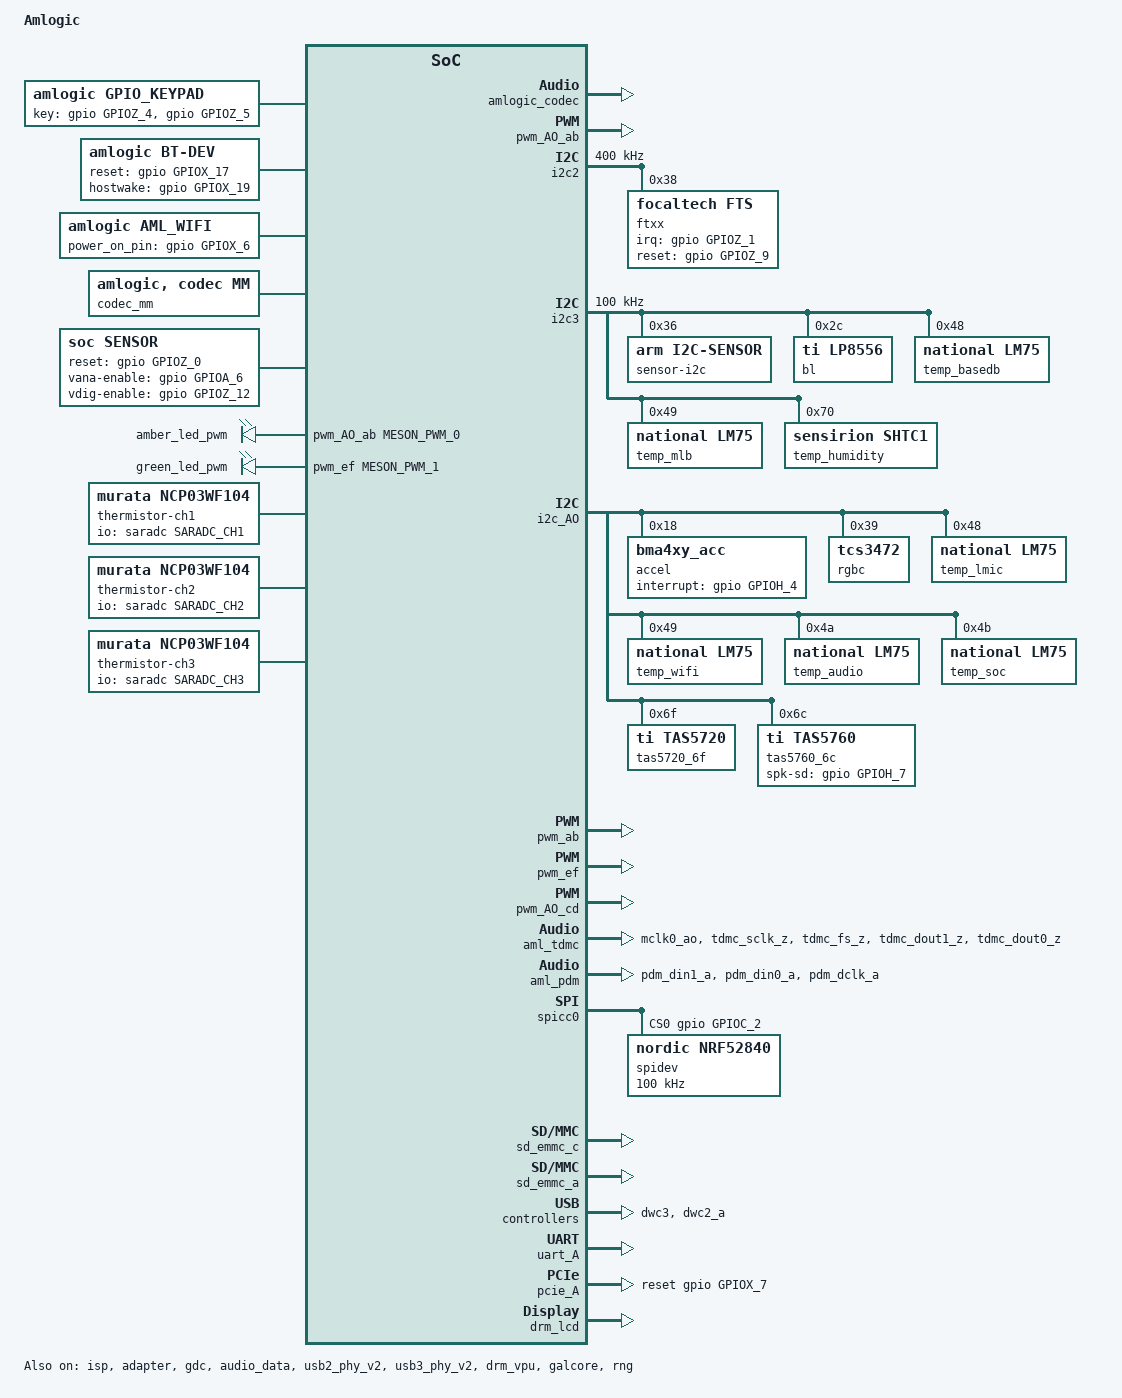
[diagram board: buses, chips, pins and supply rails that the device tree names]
/*
 * arch/arm64/boot/dts/amlogic/newman-common.dtsi
 *
 * Copyright (C) 2017 Amlogic, Inc. All rights reserved.
 *
 * This program is free software; you can redistribute it and/or modify
 * it under the terms of the GNU General Public License as published by
 * the Free Software Foundation; either version 2 of the License, or
 * (at your option) any later version.
 *
 * This program is distributed in the hope that it will be useful, but WITHOUT
 * ANY WARRANTY; without even the implied warranty of MERCHANTABILITY or
 * FITNESS FOR A PARTICULAR PURPOSE.  See the GNU General Public License for
 * more details.
 *
 */

/ {
	model = "Amlogic";
	compatible = "amlogic, g12b";
	interrupt-parent = <&gic>;
	#address-cells = <2>;
	#size-cells = <2>;

	aliases {
		serial0 = &uart_AO;
		serial1 = &uart_A;
		serial2 = &uart_B;
		serial3 = &uart_C;
		serial4 = &uart_AO_B;
		i2c0 = &i2c0;
		i2c1 = &i2c1;
		i2c2 = &i2c2;
		i2c3 = &i2c3;
		i2c4 = &i2c_AO;
		tsensor0 = &p_tsensor;
		tsensor1 = &d_tsensor;
	};

	memory@00000000 {
		device_type = "memory";
		linux,usable-memory = <0x0 0x100000 0x0 0x7ff00000>;
	};

	reserved-memory {
		#address-cells = <2>;
		#size-cells = <2>;
		ranges;
		/* global autoconfigured region for contiguous allocations */
		ramoops@0x20000000 {
			compatible = "ramoops";
			reg = <0x0 0x20000000 0x0 0x00100000>;
			record-size = <0x8000>;
			console-size = <0x8000>;
			ftrace-size = <0x0>;
			pmsg-size = <0x8000>;
		};
		secmon_reserved:linux,secmon {
			compatible = "shared-dma-pool";
			reusable;
			size = <0x0 0x2400000>;
			alignment = <0x0 0x400000>;
			alloc-ranges = <0x0 0x05000000 0x0 0x2400000>;
			clear-map;
		};

		secos_reserved:linux,secos {
			status = "disable";
			compatible = "amlogic, aml_secos_memory";
			reg = <0x0 0x05300000 0x0 0x2000000>;
			no-map;
		};
		logo_reserved:linux,meson-fb {
			compatible = "shared-dma-pool";
			reusable;
			size = <0x0 0x800000>;
			alignment = <0x0 0x400000>;
			alloc-ranges = <0x0 0x76800000 0x0 0x800000>;
		};
		ion_cma_reserved:linux,ion-dev {
			compatible = "shared-dma-pool";
			reusable;
			size = <0x0 0x8000000>;
			alignment = <0x0 0x400000>;
		};

		//di_reserved:linux,di {
			//compatible = "amlogic, di-mem";
			/* buffer_size = 3621952(yuv422 8bit) */
			/* 4179008(yuv422 10bit full pack mode) */
			/** 10x3621952=34.6M(0x23) support 8bit **/
			/** 10x4736064=45.2M(0x2e) support 12bit **/
			/** 10x4179008=40M(0x28) support 10bit **/
			//size = <0x0 0x2800000>;
			//no-map;
		//};
		/*di CMA pool */
		//di_cma_reserved:linux,di_cma {
		//	compatible = "shared-dma-pool";
		//	reusable;
			/* buffer_size = 3621952(yuv422 8bit)
			 *  | 4736064(yuv422 10bit)
			 *  | 4074560(yuv422 10bit full pack mode)
			 * 10x3621952=34.6M(0x23) support 8bit
			 * 10x4736064=45.2M(0x2e) support 12bit
			 * 10x4074560=40M(0x28) support 10bit
			 */
		//	size = <0x0 0x02800000>;
		//	alignment = <0x0 0x400000>;
		//};
		/*  POST PROCESS MANAGER */
		ppmgr_reserved:linux,ppmgr {
			compatible = "shared-dma-pool";
			size = <0x0 0x0>;
		};

		codec_mm_cma:linux,codec_mm_cma {
			compatible = "shared-dma-pool";
			reusable;
			size = <0x0 0x10800000>;
			alignment = <0x0 0x400000>;
			linux,contiguous-region;
			clear-map;
		};
		/* codec shared reserved */
		codec_mm_reserved:linux,codec_mm_reserved {
			compatible = "amlogic, codec-mm-reserved";
			size = <0x0 0x0>;
			alignment = <0x0 0x100000>;
			//no-map;
		};
		/* YUV decoder V4L2 CMA */
		codec_yuvdecoder_cma:linux,yuvdecoder_cma {
			compatible = "shared-dma-pool";
			size = <0x0 0xc00000>;
			linux,contiguous-region;
		};
		/*  vdin0 CMA pool */
		//vdin0_cma_reserved:linux,vdin0_cma {
		//	compatible = "shared-dma-pool";
		//	reusable;
		/* 1920x1080x2x4  =16+4 M */
		//	size = <0x0 0x04000000>;
		//	alignment = <0x0 0x400000>;
		//};
		/*  vdin1 CMA pool */
		//vdin1_cma_reserved:linux,vdin1_cma {
		//	compatible = "shared-dma-pool";
		//	reusable;
			/* 1920x1080x2x4  =16 M */
		//	size = <0x0 0x04000000>;
		//	alignment = <0x0 0x400000>;
		//};
		isp_cma_reserved:linux,isp_cma{
			compatible = "shared-dma-pool";
			reusable;
			status = "okay";
			size = <0x0 0x8C00000>;
			alignment = <0x0 0x40000>;
			//no-map;
		};
		adapt_cma_reserved:linux,adapt_cma {
			compatible = "shared-dma-pool";
			reusable;
			status = "okay";
			size = <0x0 0x01000000>;
			alignment = <0x0 0x400000>;
		};
		gdc_cma_reserved:linux,gdc_cma {
			compatible = "shared-dma-pool";
			reusable;
			status = "okay";
			size = <0x0 0x04000000>;
			alignment = <0x0 0x400000>;
		};
	};

	galcore {
		compatible = "amlogic, galcore";
		dev_name = "galcore";
		status = "okay";
		interrupts = <0 147 IRQ_TYPE_LEVEL_HIGH>;
		interrupt-names = "galcore";
		reg = <0x0 0xff100000 0x0 0x800>;
	};

	gpio_key {
		compatible = "amlogic, gpio_keypad";
		status = "okay";
		scan_period = <20>;
		key_num = <2>;
		key_name = "vol_up", "vol_down";
		key_code = <115 114>;
		key-gpios = <&gpio  GPIOZ_4  GPIO_ACTIVE_HIGH
				&gpio  GPIOZ_5  GPIO_ACTIVE_HIGH>;
		detect_mode = <0>;/*0:polling mode, 1:irq mode*/
	};

	cvbsout {
		compatible = "amlogic, cvbsout-g12a";
		dev_name = "cvbsout";
		status = "disabled";
		clocks = <&clkc CLKID_VCLK2_ENCI
			&clkc CLKID_VCLK2_VENCI0
			&clkc CLKID_VCLK2_VENCI1
			&clkc CLKID_DAC_CLK>;
		clock-names = "venci_top_gate",
			"venci_0_gate",
			"venci_1_gate",
			"vdac_clk_gate";

		/* performance: reg_address, reg_value */
		/* s905x */
		performance = <0x1bf0  0x9
			0x1b56  0x343
			0x1b12  0x8080
			0x1b05  0xfd
			0x1c59  0xf752
			0xffff  0x0>; /* ending flag */
	};

	bt-dev{
		compatible = "amlogic, bt-dev";
		dev_name = "bt-dev";
		status = "okay";
		gpio_reset = <&gpio GPIOX_17 GPIO_ACTIVE_HIGH>;
		gpio_hostwake = <&gpio GPIOX_19 GPIO_ACTIVE_HIGH>;
	};

	wifi{
		compatible = "amlogic, aml_wifi";
		dev_name = "aml_wifi";
		status = "okay";
		interrupt_pin = <&gpio GPIOX_7 GPIO_ACTIVE_HIGH>;
		irq_trigger_type = "GPIO_IRQ_LOW";
		power_on_pin = <&gpio GPIOX_6 GPIO_ACTIVE_HIGH>;
		dhd_static_buf;	//if use bcm wifi, config dhd_static_buf
		pinctrl-names = "default";
		pinctrl-0 = <&pwm_e_pins>;
		pwm_config = <&wifi_pwm_conf>;
	};

	wifi_pwm_conf:wifi_pwm_conf{
		pwm_channel1_conf {
			pwms = <&pwm_ef MESON_PWM_0 30040 0>;
			duty-cycle = <15020>;
			times = <10>;
		};
		pwm_channel2_conf {
			pwms = <&pwm_ef MESON_PWM_2 30030 0>;
			duty-cycle = <15015>;
			times = <12>;
		};
	};

	codec_mm {
		compatible = "amlogic, codec, mm";
		memory-region = <&codec_mm_cma &codec_mm_reserved>;
		dev_name = "codec_mm";
		status = "okay";
	};

	amvenc_avc {
		compatible = "amlogic, amvenc_avc";
		dev_name = "amvenc_avc";
		status = "okay";
		interrupts = <0 45 1>;
		interrupt-names = "mailbox_2";
	};

	ppmgr {
		compatible = "amlogic, ppmgr";
		memory-region = <&ppmgr_reserved>;
		dev_name = "ppmgr";
		status = "okay";
	};

	//deinterlace {
	//	compatible = "amlogic, deinterlace";
	//	status = "disabled";
		/* 0:use reserved; 1:use cma; 2:use cma as reserved */
	//	flag_cma = <1>;
		//memory-region = <&di_reserved>;
	//	memory-region = <&di_cma_reserved>;
	//	interrupts = <0 46 1
	//			0 40 1>;
	//	interrupt-names = "pre_irq", "post_irq";
	//	clocks = <&clkc CLKID_VPU_CLKB_TMP_COMP>,
	//		<&clkc CLKID_VPU_CLKB_COMP>;
	//	clock-names = "vpu_clkb_tmp_composite",
	//		"vpu_clkb_composite";
	//	clock-range = <334 667>;
		/* buffer-size = <3621952>;(yuv422 8bit) */
	//	buffer-size = <4074560>;/*yuv422 fullpack*/
		/* reserve-iomap = "true"; */
		/* if enable nr10bit, set nr10bit-support to 1 */
	//	post-wr-support = <1>;
	//	nr10bit-support = <1>;
	//	nrds-enable = <1>;
	//	pps-enable = <1>;
	//};

	ionvideo {
		compatible = "amlogic, ionvideo";
		dev_name = "ionvideo";
		status = "okay";
	};

	rng {
		compatible = "amlogic,meson-rng";
		status = "okay";
		#address-cells = <2>;
		#size-cells = <2>;
		reg = <0x0 0xff630218 0x0 0x4>;
	};

	amlvecm {
		compatible = "amlogic, vecm";
		dev_name = "aml_vecm";
		status = "okay";
		gamma_en = <1>;/*1:enabel ;0:disable*/
		wb_en = <0>;/*1:enabel ;0:disable*/
		cm_en = <0>;/*1:enabel ;0:disable*/
		vlock_en = <0>;
		vlock_mode = <0x4>;
		vlock_pll_m_limit = <1>;
		vlock_line_limit = <3>;
	};

	amvdec_yuv {
		compatible = "amlogic, amvdec_yuv";
		memory-region = <&codec_yuvdecoder_cma>;
		status = "okay";
	};

	amdolby_vision {
		compatible = "amlogic, dolby_vision_g12a";
		dev_name = "aml_amdolby_vision_driver";
		status = "disabled";
		tv_mode = <0>;/*1:enabel ;0:disable*/
	};

	/* Audio Related start */
	pdm_codec:dummy{
		#sound-dai-cells = <0>;
		compatible = "amlogic, pdm_dummy_codec";
		status = "okay";
	};
	dummy_codec:dummy{
		#sound-dai-cells = <0>;
		compatible = "amlogic, aml_dummy_codec";
		status = "okay";
	};
	amlogic_codec:t9015{
		#sound-dai-cells = <0>;
		compatible = "amlogic, aml_codec_T9015";
		reg = <0x0 0xFF632000 0x0 0x2000>;
		is_auge_used = <1>; /* meson or auge chipset used */
		tdmout_index = <1>;
		status = "okay";
	};
	audio_effect:eqdrc{
		/*eq_enable = <1>;*/
		/*drc_enable = <1>;*/
		/*
		 * 0:tdmout_a
		 * 1:tdmout_b
		 * 2:tdmout_c
		 * 3:spdifout
		 * 4:spdifout_b
		 */
		eqdrc_module = <1>;
		/* max 0xf, each bit for one lane, usually one lane */
		lane_mask = <0x1>;
		/* max 0xff, each bit for one channel */
		channel_mask = <0x3>;
	};
	auge_sound {
		compatible = "amlogic, g12a-sound-card";
		aml-audio-card,name = "AML-AUGESOUND";

		//aml-audio-card,loopback = <&aml_loopback>;
		//aml-audio-card,aux-devs = <&amlogic_codec>;
		/*avout mute gpio*/
		//avout_mute-gpios = <&gpio_ao GPIOAO_2 GPIO_ACTIVE_HIGH>;
		/*for audio effect ,eqdrc */
		aml-audio-card,effect = <&audio_effect>;

		aml-audio-card,dai-link@0 {
			format = "dsp_a";
			mclk-fs = <256>;
			//continuous-clock;
			//bitclock-inversion;
			//frame-inversion;
			//bitclock-master = <&tdmacodec>;
			//frame-master = <&tdmacodec>;
			/* suffix-name, sync with android audio hal
			 * what's the dai link used for
			 */
			suffix-name = "alsaPORT-pcm";
			tdmacpu: cpu {
				sound-dai = <&aml_tdma>;
				dai-tdm-slot-tx-mask = <1>;
				dai-tdm-slot-rx-mask = <1>;
				dai-tdm-slot-num = <1>;
				dai-tdm-slot-width = <16>;
				system-clock-frequency = <24576000>;
			};
			tdmacodec: codec {
				sound-dai = <&dummy_codec>;
			};
		};

		aml-audio-card,dai-link@2 {
			format = "i2s";
			mclk-fs = <256>;
			//continuous-clock;
			//bitclock-inversion;
			//frame-inversion;
			bitclock-master = <&aml_tdmc>;
			frame-master = <&aml_tdmc>;
			/* suffix-name, sync with android audio hal
			 * what's the dai link used for
			 */
			suffix-name = "alsaPORT-tdm";
			cpu {
				sound-dai = <&aml_tdmc>;
				dai-tdm-slot-tx-mask = <1 1>;
				dai-tdm-slot-rx-mask = <1 1>;
				dai-tdm-slot-num = <2>;
				dai-tdm-slot-width = <32>;
				system-clock-frequency = <12288000>;
			};
			tdmccodec: codec {
				prefix-names = "5720", "5760";
				dai-tdm-slot-tx-mask = <1 1>;
				dai-tdm-slot-rx-mask = <1 1>;
				dai-tdm-slot-num = <2>;
				dai-tdm-slot-width = <32>;
				sound-dai = <&tas5720_6f  &tas5760_6c>;
			};
		};

		aml-audio-card,dai-link@3 {
			mclk-fs = <64>;
			/* suffix-name, sync with android audio hal
			 * what's the dai link used for
			 */
			suffix-name = "alsaPORT-pdm";
			cpu {
				sound-dai = <&aml_pdm>;
			};
			codec {
				sound-dai = <&pdm_codec>;
			};
		};

		//aml-audio-card,dai-link@4 {
		//	mclk-fs = <128>;
		//	/* suffix-name, sync with android audio hal
		//	 * what's the dai link used for
		//	 */
		//	suffix-name = "alsaPORT-spdif";
		//	cpu {
		//		sound-dai = <&aml_spdif>;
		//		system-clock-frequency = <6144000>;
		//	};
		//	codec {
		//		sound-dai = <&dummy_codec>;
		//	};
		//};
		//aml-audio-card,dai-link@5 {
		//	mclk-fs = <128>;
		//	/* suffix-name, sync with android audio hal
		//	 * what's the dai link used for
		//	 */
		//	suffix-name = "alsaPORT-hdmi";
		//	cpu {
		//		sound-dai = <&aml_spdif_b>;
		//		system-clock-frequency = <6144000>;
		//	};
		//	codec {
		//		sound-dai = <&dummy_codec>;
		//	};
		//};
		/*
		 * dai link for i2s to hdmix,
		 * Notice to select a tdm lane not used by hw
		 */
		//aml-audio-card,dai-link@6 {
		//	format = "i2s";
		//	mclk-fs = <256>;
			//continuous-clock;
			//bitclock-inversion;
			//frame-inversion;
		//	bitclock-master = <&aml_i2s2hdmi>;
		//	frame-master = <&aml_i2s2hdmi>;
			/* suffix-name, sync with android audio hal
			 * what's the dai link used for
			 */
		//	suffix-name = "alsaPORT-i2s2hdmi";
		//	cpu {
		//		sound-dai = <&aml_i2s2hdmi>;
		//		dai-tdm-slot-tx-mask = <1 1>;
		//		dai-tdm-slot-num = <2>;
		//		dai-tdm-slot-width = <32>;
		//		system-clock-frequency = <12288000>;
		//	};
		//	codec {
		//		sound-dai = <&dummy_codec>;
		//	};
		//};
	};
	audiolocker: locker {
		compatible = "amlogic, audiolocker";
		clocks = <&clkaudio CLKID_AUDIO_LOCKER_OUT
				&clkaudio CLKID_AUDIO_LOCKER_IN
				&clkaudio CLKID_AUDIO_MCLK_D
				&clkaudio CLKID_AUDIO_MCLK_E
				&clkc CLKID_MPLL1
				&clkc CLKID_MPLL2>;
		clock-names = "lock_out", "lock_in", "out_src",
					"in_src", "out_calc", "in_ref";
		interrupts = <GIC_SPI 1 IRQ_TYPE_EDGE_RISING>;
		interrupt-names = "irq";
		frequency = <49000000>; /* pll */
		dividor = <49>; /* locker's parent */
		status = "disabled";
	};
	/* Audio Related end */

	cpufreq-meson {
		compatible = "amlogic, cpufreq-meson";
		status = "okay";
	};

	/*
	 * last opp-hz
	 * 0xffffffff:adjust cpufreq according to efuse info
	 * others:do not adjust
	 */
	cpu_opp_table0: cpu_opp_table0 {
		compatible = "operating-points-v2";
		opp-shared;

		opp00 {
			opp-hz = /bits/ 64 <100000000>;
			opp-microvolt = <731000>;
		};
		opp01 {
			opp-hz = /bits/ 64 <250000000>;
			opp-microvolt = <731000>;
		};
		opp02 {
			opp-hz = /bits/ 64 <500000000>;
			opp-microvolt = <731000>;
		};
		opp03 {
			opp-hz = /bits/ 64 <667000000>;
			opp-microvolt = <731000>;
		};
		opp04 {
			opp-hz = /bits/ 64 <1000000000>;
			opp-microvolt = <731000>;
		};
		opp05 {
			opp-hz = /bits/ 64 <1200000000>;
			opp-microvolt = <731000>;
		};
		opp06 {
			opp-hz = /bits/ 64 <1398000000>;
			opp-microvolt = <761000>;
		};
		opp07 {
			opp-hz = /bits/ 64 <1512000000>;
			opp-microvolt = <791000>;
		};
		opp08 {
			opp-hz = /bits/ 64 <1608000000>;
			opp-microvolt = <831000>;
		};
		opp09 {
			opp-hz = /bits/ 64 <1704000000>;
			opp-microvolt = <861000>;
		};
		opp10 {
			opp-hz = /bits/ 64 <1896000000>;
			opp-microvolt = <1011000>;
		};
	};

	cpu_opp_table1: cpu_opp_table1 {
		compatible = "operating-points-v2";
		opp-shared;

		opp00 {
			opp-hz = /bits/ 64 <100000000>;
			opp-microvolt = <751000>;
		};
		opp01 {
			opp-hz = /bits/ 64 <250000000>;
			opp-microvolt = <751000>;
		};
		opp02 {
			opp-hz = /bits/ 64 <500000000>;
			opp-microvolt = <751000>;
		};
		opp03 {
			opp-hz = /bits/ 64 <667000000>;
			opp-microvolt = <751000>;
		};
		opp04 {
			opp-hz = /bits/ 64 <1000000000>;
			opp-microvolt = <771000>;
		};
		opp05 {
			opp-hz = /bits/ 64 <1200000000>;
			opp-microvolt = <771000>;
		};
		opp06 {
			opp-hz = /bits/ 64 <1398000000>;
			opp-microvolt = <791000>;
		};
		opp07 {
			opp-hz = /bits/ 64 <1512000000>;
			opp-microvolt = <821000>;
		};
		opp08 {
			opp-hz = /bits/ 64 <1608000000>;
			opp-microvolt = <861000>;
		};
		opp09 {
			opp-hz = /bits/ 64 <1704000000>;
			opp-microvolt = <891000>;
		};
		opp10 {
			opp-hz = /bits/ 64 <0xffffffff>;
			opp-microvolt = <1011000>;
		};
	};

	sensor: sensor {
		compatible = "soc, sensor";
		status = "okay";
		pinctrl-names="default";
		pinctrl-0=<&clk12_24_ao_pins>;
		clocks = <&clkc CLKID_24M>;
		clock-names = "g12a_24m";
		reset = <&gpio GPIOZ_0 GPIO_ACTIVE_HIGH>;
		vana-enable = <&gpio GPIOA_6 GPIO_ACTIVE_HIGH>;
		vdig-enable = <&gpio GPIOZ_12 GPIO_ACTIVE_HIGH>;
	};

	amber_led {
		compatible = "pwm-leds";
		status = "okay";
		amber_led {
			label = "amber_led_pwm";
			pwms = <&pwm_AO_ab MESON_PWM_0 500000 0>;
			max-brightness = <4095>;
		};
	};

	green_led {
		compatible = "pwm-leds";
		status = "okay";
		green_led {
			label = "green_led_pwm";
			pwms = <&pwm_ef MESON_PWM_1 500000 0>;
			max-brightness = <4095>;
		};
	};

	thermistor-ch1 {
		compatible = "murata,ncp03wf104";
		pullup-uv = <1800000>;
		pullup-ohm = <47000>;
		pulldown-ohm = <0>;
		io-channels = <&saradc SARADC_CH1>;
	};

	thermistor-ch2 {
		compatible = "murata,ncp03wf104";
		pullup-uv = <1800000>;
		pullup-ohm = <47000>;
		pulldown-ohm = <0>;
		io-channels = <&saradc SARADC_CH2>;
	};

	thermistor-ch3 {
		compatible = "murata,ncp03wf104";
		pullup-uv = <1800000>;
		pullup-ohm = <47000>;
		pulldown-ohm = <0>;
		io-channels = <&saradc SARADC_CH3>;
	};
}; /* end of / */

&pwm_AO_ab {
		status = "okay";
		pinctrl-names = "default";
		pinctrl-0 = <&pwm_ao_a_pins>;
	};

&i2c2 {
	status = "okay";
	pinctrl-names="default";
	pinctrl-0=<&i2c2_master_pins2>;
	clock-frequency = <400000>;
	ftxx@38 {
		compatible = "focaltech,fts";
		status = "okay";
		reg = <0x38>;
		focaltech,irq-gpio = <&gpio GPIOZ_1 0x00>;
		focaltech,reset-gpio = <&gpio GPIOZ_9 0x00>;
		focaltech,display-coords = <0 0 799 1279>;
		focaltech,display-coords,boe,p1 = <0 0 1199 1900>;
		focaltech,display-coords,inx,p1 = <0 0 799 1010>;
		focaltech,max-touch-number = <5>;
	};
};

&i2c3 {
	status = "okay";
	pinctrl-names="default";
	pinctrl-0=<&i2c3_master_pins2>;
	clock-frequency = <100000>; /* default 100k */

	sensor-i2c@36 {
		compatible = "arm, i2c-sensor";
		reg = <0x36>;
		reg-names = "i2c-sensor";
		slave-addr = <0x6c>;
		reg-type = <2>;
		reg-data-type = <1>;
		link-device = <&phycsi>;
	};


	bl: backlight@2c {
		compatible = "ti,lp8556";
		reg = <0x2c>;
		bl-name = "lcd-bl";
		// only read eeprom on initial power-up, brightness register
		// control only, backlight enabled
		dev-ctrl = /bits/ 8 <0x85>;
		// Enable undervoltage protection at  2.5 V, "disable"
		// backlight (i2c only), disable set resistors
		rom_a2h {
			rom-addr = /bits/ 8 <0xa2>;
			rom-val = /bits/ 8 <0x20>;
		};
		// 6-phase, 6 drivers
		// 9.6kHz PWM rate
		rom_a5h {
			rom-addr = /bits/ 8 <0xa5>;
			rom-val = /bits/ 8 <0x04>;
		};
		// EN_DRV3, EN_DRV2, boost inductor current limit = 1.6 A
		rom_a7h {
			rom-addr = /bits/ 8 <0xa7>;
			rom-val = /bits/ 8 <0xf4>;
		};
		// VBOOST_MAX = 25 V, JUMP_EN = 0
		rom_a9h {
			rom-addr = /bits/ 8 <0xa9>;
			rom-val = /bits/ 8 <0x60>;
		};
		// STEP_UP = 105 mV, STEP_DN = 105 mV, LED_FAULT_TH = 3 V,
		// LED_COMP_HYST = DRIVER_HEADROOM + 750 mV
		rom_aeh {
			rom-addr = /bits/ 8 <0xae>;
			rom-val = /bits/ 8 <0x09>;
		};
	};

	temp_basedb: tmp112@48 {
		compatible = "national,lm75";
		reg = <0x48>;
	};
	temp_mlb: tmp112@49 {
		compatible = "national,lm75";
		reg = <0x49>;
	};

	temp_humidity: shtc1@70 {
		compatible = "sensirion,shtc1";
		status = "okay";
		reg = <0x70>;
	};
};

&i2c_AO {
	status = "okay";
	pinctrl-names="default";
	pinctrl-0=<&ao_i2c_master_pins1>;

	//Accelerometer
	accel: bma456@18 {
		compatible = "bma4xy_acc";
		reg = <0x18>;
		status = "okay";
		interrupt_gpio = <&gpio GPIOH_4 GPIO_ACTIVE_HIGH>;
	};

	rgbc: tcs3472@39 {
		compatible = "tcs3472";
		reg = <0x39>;
		status = "okay";
		//interrupt_gpio = <&gpio GPIOAO_5 GPIO_ACTIVE_HIGH>;
	};

	temp_lmic: tmp112@48 {
		compatible = "national,lm75";
		reg = <0x48>;
	};
	temp_wifi: tmp112@49 {
		compatible = "national,lm75";
		reg = <0x49>;
	};
	temp_audio: tmp112@4A {
		compatible = "national,lm75";
		reg = <0x4A>;
	};
	temp_soc: tmp112@4B {
		compatible = "national,lm75";
		reg = <0x4B>;
	};

	tas5720_6f: tas5720@0x6f {
		compatible = "ti,tas5720";
		#sound-dai-cells = <0>;
		reg = <0x6f>;
		status = "okay";
	};

	tas5760_6c: tas5760@0x6c {
		compatible = "ti,tas5760";
		#sound-dai-cells = <0>;
		reg = <0x6c>;
		status = "okay";
		spk-sd = <&gpio GPIOH_7 GPIO_ACTIVE_HIGH>;
	};
};

&isp {
	status = "okay";
	memory-region = <&isp_cma_reserved>;
};

&adapter {
	status = "okay";
	memory-region = <&adapt_cma_reserved>;
};

&secmon {
	reserve_mem_size = <0x02300000>;
};

&gdc {
	status = "okay";
	memory-region = <&gdc_cma_reserved>;
};

&meson_fb {
	status = "disabled";
	display_size_default = <1920 1080 1920 2160 32>;
	mem_size = <0x00800000 0x1980000 0x100000 0x100000 0x800000>;
	logo_addr = "0x7f800000";
	mem_alloc = <1>;
	pxp_mode = <0>; /** 0:normal mode 1:pxp mode */
};

&pwm_ab {
		status = "okay";
	};

&pwm_ef {
		status = "okay";
		pinctrl-names = "default";
		pinctrl-0 = <&pwm_f_pins2>;
	};

&pwm_AO_cd {
		status = "okay";
	};

&audiobus {
	aml_tdma: tdma {
		compatible = "amlogic, g12a-snd-tdma";
		#sound-dai-cells = <0>;
		dai-tdm-lane-slot-mask-in = <0 1>;
		dai-tdm-lane-oe-slot-mask-out = <1 0>;
		dai-tdm-clk-sel = <0>;
		clocks = <&clkaudio CLKID_AUDIO_MCLK_A
				&clkc CLKID_MPLL0>;
		clock-names = "mclk", "clk_srcpll";
		pinctrl-names = "tdm_pins";
		pinctrl-0 = <&tdmout_a &tdmin_a>;
	};

	aml_tdmc: tdmc {
		compatible = "amlogic, g12a-snd-tdmc";
		#sound-dai-cells = <0>;
		#dai-tdm-lane-slot-mask-in = <0 1 0 0>;
		#dai-tdm-lane-slot-mask-out = <1 1 0 0>;
		#dai-tdm-lane-oe-slot-mask-in = <0 0 0 0>;
		dai-tdm-lane-oe-slot-mask-out = <1 1 0 0>;
		dai-tdm-clk-sel = <2>;
		dai-tdm-mclk-sel = <0 2>; /* mclk select */
		clocks = <&clkaudio CLKID_AUDIO_MCLK_C
				&clkc CLKID_MPLL2>;
		clock-names = "mclk", "clk_srcpll";
		pinctrl-names = "tdm_pins";
		pinctrl-0 = <&tdmb_mclk  &tdmout_c>;
		//samesource_sel = <2>;
	};

	/* copy a useless tdm to output for hdmi, no pinmux */
	//aml_i2s2hdmi: i2s2hdmi {
	//	compatible = "amlogic, g12a-snd-tdmc";
	//	#sound-dai-cells = <0>;
	//	dai-tdm-lane-slot-mask-out = <1 1 1 1>;
	//	dai-tdm-clk-sel = <2>;
	//	clocks = <&clkaudio CLKID_AUDIO_MCLK_C
	//			&clkc CLKID_MPLL2>;
	//	clock-names = "mclk", "clk_srcpll";

	//	i2s2hdmi = <1>;

	//	status = "okay";
	//};
	//aml_spdif: spdif {
	//	compatible = "amlogic, g12a-snd-spdif-a";
	//	#sound-dai-cells = <0>;
	//	clocks = <&clkc CLKID_MPLL0
	//			&clkc CLKID_FCLK_DIV4
	//			&clkaudio CLKID_AUDIO_SPDIFIN
	//			&clkaudio CLKID_AUDIO_SPDIFOUT
	//			&clkaudio CLKID_AUDIO_SPDIFIN_CTRL
	//			&clkaudio CLKID_AUDIO_SPDIFOUT_CTRL>;
	//	clock-names = "sysclk", "fixed_clk", "gate_spdifin",
	//			"gate_spdifout", "clk_spdifin", "clk_spdifout";
	//	interrupts =
	//			<GIC_SPI 151 IRQ_TYPE_EDGE_RISING>;

	//	interrupt-names = "irq_spdifin";
	//	pinctrl-names = "spdif_pins";
	//	pinctrl-0 = <&spdifout &spdifin>;
	//	status = "disabled";
	//};
	//aml_spdif_b: spdif_b {
	//	compatible = "amlogic, g12a-snd-spdif-b";
	//	#sound-dai-cells = <0>;
	//	clocks = <&clkc CLKID_MPLL0 /*CLKID_HIFI_PLL*/
	//			&clkaudio CLKID_AUDIO_SPDIFOUTB
	//			&clkaudio CLKID_AUDIO_SPDIFOUTB_CTRL>;
	//	clock-names = "sysclk",
	//			"gate_spdifout", "clk_spdifout";
	//	//pinctrl-names = "spdif_pins";
	//	//pinctrl-0 = <&spdifout>;
	//	status = "disabled";
	//};
	aml_pdm: pdm {
		compatible = "amlogic, g12a-snd-pdm";
		#sound-dai-cells = <0>;
		clocks = <&clkaudio CLKID_AUDIO_PDM
			&clkc CLKID_FCLK_DIV3
			&clkc CLKID_MPLL1
			&clkaudio CLKID_AUDIO_PDMIN0
			&clkaudio CLKID_AUDIO_PDMIN1>;
		clock-names = "gate",
			"sysclk_srcpll",
			"dclk_srcpll",
			"pdm_dclk",
			"pdm_sysclk";
		pinctrl-names = "pdm_pins";
		pinctrl-0 = <&pdmin>;
		filter_mode = <1>; /* mode 0~4, defalut:1 */
		status = "okay";
	};
	aml_loopback: loopback {
		compatible = "amlogic, snd-loopback";
		/*
		 * 0: out rate = in data rate;
		 * 1: out rate = loopback data rate;
		 */
		lb_mode = <0>;

		/* datain src
		 * 0: tdmin_a;
		 * 1: tdmin_b;
		 * 2: tdmin_c;
		 * 3: spdifin;
		 * 4: pdmin;
		 */
		datain_src = <4>;
		datain_chnum = <8>;
		datain_chmask = <0x3f>;

		/* tdmin_lb src
		 * 0: tdmoutA
		 * 1: tdmoutB
		 * 2: tdmoutC
		 * 3: PAD_tdminA
		 * 4: PAD_tdminB
		 * 5: PAD_tdminC
		 */
		datalb_src = <2>;
		datalb_chnum = <8>;
		datalb_chmask = <0x3>;

		status = "disabled";
	};

	audioresample: resample {
		compatible = "amlogic, g12a-resample";
		clocks = <&clkc CLKID_MPLL3
				&clkaudio CLKID_AUDIO_MCLK_F
				&clkaudio CLKID_AUDIO_RESAMPLE_CTRL>;
		clock-names = "resample_pll", "resample_src", "resample_clk";
		/*same with toddr_src
		 *	TDMIN_A, 0
		 *	TDMIN_B, 1
		 *	TDMIN_C, 2
		 *	SPDIFIN, 3
		 *	PDMIN,  4
		 *	NONE,
		 *	TDMIN_LB, 6
		 *	LOOPBACK, 7
		 */
		resample_module = <4>;
		status = "disabled";
	};
	aml_pwrdet: pwrdet {
		compatible = "amlogic, g12a-power-detect";

		interrupts = <GIC_SPI 155 IRQ_TYPE_EDGE_RISING>;
		interrupt-names = "pwrdet_irq";

		/* pwrdet source sel
		 * 7: loopback;
		 * 6: tdmin_lb;
		 * 5: reserved;
		 * 4: pdmin;
		 * 3: spdifin;
		 * 2: tdmin_c;
		 * 1: tdmin_b;
		 * 0: tdmin_a;
		 */
		pwrdet_src = <4>;

		hi_th = <0x70000>;
		lo_th = <0x16000>;

		status = "disabled";
	};
}; /* end of audiobus */

&pinctrl_aobus {
	clk12_24_ao_pins:clk12_24_ao_pins {
		mux {
			groups = "clk12_24_ao";
			function = "clk12_24_ao";
			drive-strength = <3>;
		};
	};
};

&pinctrl_periphs {
	tdmout_a: tdmout_a {
		mux { /* GPIOX_11, GPIOX_10, GPIOX_9 */
			groups = "tdma_sclk",
				"tdma_fs",
				"tdma_dout0";
			function = "tdma_out";
		};
	};

	tdmin_a: tdmin_a {
		mux { /* GPIOX_8 */
			groups = "tdma_din1";
			function = "tdma_in";
		};
	};

	tdmout_c:tdmout_c {
		mux { /* GPIOZ_2, GPIOZ_3, GPIOZ_6, GPIOZ_7*/
			groups = "tdmc_sclk_z",
				"tdmc_fs_z",
				"tdmc_dout1_z",
				"tdmc_dout0_z";
			function = "tdmc_out";
			drive-strength = <2>;
		};
	};

	//spdifin: spdifin {
	//	mux {/* GPIOH_5 */
	//		groups = "spdif_in_h";
	//		function = "spdif_in";
	//	};
	//};

	/* GPIOH_4 */
	/*
	 * spdifout: spdifout {
	 *	mux {
	 *		groups = "spdif_out_h";
	 *		function = "spdif_out";
	 *	};
	 *};
	 */

	pdmin: pdmin {
		mux { /* gpioa_6, gpioa_7, gpioa_8, gpioa_9*/
			groups = "pdm_din1_a", //gpioa_9
			"pdm_din0_a", //gpioa_8
			// "pdm_din2_a", //gpioa_6
			/*"pdm_din3_a",*/ //gpioa_5
			"pdm_dclk_a"; //gpioa_7
			function = "pdm";
		};
	};

}; /* end of pinctrl_periphs */

&pinctrl_aobus {
	tdmb_mclk: tdmb_mclk {
		mux {
			groups = "mclk0_ao";
			function = "mclk0_ao";
			drive-strength = <2>;
		};
	};

//	tdmout_b: tdmout_b {
//		mux { /* GPIOAO_6, GPIOAO_7, GPIOAO_8*/
//			groups = "tdmb_sclk_ao",
//				"tdmb_fs_ao",
//				"tdmb_dout2_ao";
//			function = "tdmb_out_ao";
//			drive-strength = <2>;
//		};
//	};

	spdifout: spdifout {
		mux { /* gpiao_10 */
			groups = "spdif_out_ao";
			function = "spdif_out_ao";
		};
	};
};  /* end of pinctrl_aobus */
/* Audio Related End */

&spicc0 {
	status = "okay";
	pinctrl-names = "default";
	pinctrl-0 = <&spicc0_pins_c>;
	cs-gpios = <&gpio GPIOC_2 0>;
	num_chipselect = <1>;
	spidev@0x0 {
		compatible = "nordic,nrf52840";
		status = "okay";
		reg = <0>;
		spi-max-frequency = <100000>;
	};
};

&aobus{

};

&irblaster {
	status = "disabled";
};

&audio_data {
	status = "okay";
};

/*if you want to use vdin just modify status to "ok"*/
//&vdin0 {
//	memory-region = <&vdin0_cma_reserved>;
//	status = "disabled";
	/*vdin write mem color depth support:
	 *bit0:support 8bit
	 *bit1:support 9bit
	 *bit2:support 10bit
	 *bit3:support 12bit
	 *bit4:support yuv422 10bit full pack mode (from txl new add)
	 */
//	tv_bit_mode = <0x15>;
//};
//&vdin1 {
//	memory-region = <&vdin1_cma_reserved>;
//	status = "disabled";
	/*vdin write mem color depth support:
//	 *bit0:support 8bit
//	 *bit1:support 9bit
//	 *bit2:support 10bit
//	 *bit3:support 12bit
//	 */
//	tv_bit_mode = <1>;
//};

&sd_emmc_c {
	status = "okay";
	emmc {
		caps = "MMC_CAP_8_BIT_DATA",
			 "MMC_CAP_MMC_HIGHSPEED",
			 "MMC_CAP_SD_HIGHSPEED",
			 "MMC_CAP_NONREMOVABLE",
			/* "MMC_CAP_1_8V_DDR", */
			 "MMC_CAP_HW_RESET",
			 "MMC_CAP_ERASE",
			 "MMC_CAP_CMD23";
		caps2 = "MMC_CAP2_HS200";
		/* "MMC_CAP2_HS400";*/
		f_min = <400000>;
		f_max = <166666666>;
	};
};

&sd_emmc_b {
	status = "disabled";
	sd {
		caps = "MMC_CAP_4_BIT_DATA",
			 "MMC_CAP_MMC_HIGHSPEED",
			 "MMC_CAP_SD_HIGHSPEED";
		f_min = <400000>;
		f_max = <50000000>;
	};
};

&sd_emmc_a {
	status = "okay";
	sdio {
		caps = "MMC_CAP_4_BIT_DATA",
			 "MMC_CAP_MMC_HIGHSPEED",
			 "MMC_CAP_SD_HIGHSPEED",
			 "MMC_CAP_NONREMOVABLE",
			 "MMC_CAP_UHS_SDR12",
			 "MMC_CAP_UHS_SDR25",
			 "MMC_CAP_UHS_SDR50",
			 "MMC_CAP_UHS_SDR104",
			 "MMC_PM_KEEP_POWER",
			 "MMC_CAP_SDIO_IRQ";
		f_min = <400000>;
		f_max = <200000000>;
	};
};

&dwc3 {
	status = "okay";
};

&usb2_phy_v2 {
	status = "okay";
	portnum = <2>;
};

&usb3_phy_v2 {
	status = "okay";
	portnum = <0>;
	otg = <1>;
	//gpio-vbus-power = "GPIOH_6";
	gpios = <&gpio GPIOH_6 GPIO_ACTIVE_HIGH>;
};

&dwc2_a {
	status = "okay";
	/* 1: host only, 2: device only, 3: OTG */
	controller-type = <3>;
};
&ethmac {
	status = "disabled";
	pinctrl-names = "internal_eth_pins";
	pinctrl-0 = <&internal_eth_pins>;
	mc_val = <0x4be04>;

	internal_phy=<1>;
};

&uart_A {
	status = "okay";
};

&pcie_A {
	reset-gpio = <&gpio GPIOX_7 GPIO_ACTIVE_HIGH>;
	status = "okay";
};

&gpu {
       tbl =  <&dvfs285_cfg
		&dvfs500_cfg
		&dvfs666_cfg
		&dvfs800_cfg
		&dvfs800_cfg>;
};
&amhdmitx {
	status= "disabled";
};

&aocec {
	status = "disabled";
};

&drm_vpu {
	status = "okay";
	logo_addr = "0x7f800000";
};

&drm_lcd {
	status = "okay";
};
